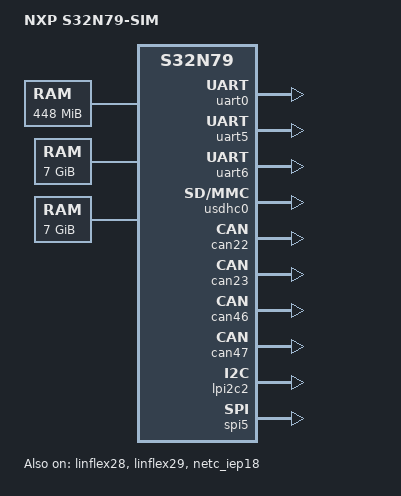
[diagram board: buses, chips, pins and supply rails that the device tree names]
// SPDX-License-Identifier: (GPL-2.0+ OR BSD-3-Clause)
/*
 * Copyright 2024-2025 NXP
 */

/dts-v1/;
#include "s32n79-simulator.dtsi"

/delete-node/ &cpu4;
/delete-node/ &cpu5;
/delete-node/ &cpu6;
/delete-node/ &cpu7;
/delete-node/ &irqsteer_coss;
/delete-node/ &irqsteer_rcu;
/delete-node/ &edma_coss;
/delete-node/ &edma_rcu;
/delete-node/ &netc_iep14;
/delete-node/ &netc_iep19;

/ {
	model = "NXP S32N79-SIM";
	compatible = "nxp,s32n79-sim", "nxp,s32n79";

	chosen {
		stdout-path = "serial0:115200n8";
	};

	cpus {
		cpu-map {
			cluster0 {
				core0 {
					cpu = <&cpu0>;
				};

				core1 {
					cpu = <&cpu1>;
				};
			};

			cluster1 {
				core0 {
					cpu = <&cpu2>;
				};

				core1 {
					cpu = <&cpu3>;
				};
			};
		};
	};

	memory@800000000 {
		device_type = "memory";
		reg = <0x0 0x80000000 0x0 0x1c000000>;
	};

	memory@8800000000 {
		device_type = "memory";
		reg = <0x88 0x00000000 0x1 0xc0000000>;
	};

	memory@c000000000 {
		device_type = "memory";
		reg = <0xc0 0x00000000 0x1 0xc0000000>;
	};

	reserved-memory {
		scmi_tx_buf: shm@93000000 {
			compatible = "arm,scmi-shmem";
			reg = <0x0 0x93000000 0x0 0x80>;
			no-map;
		};

		hse_rmem0: shm@90000000 {
			compatible = "nxp,s32n-hse-rmem";
			reg = <0x0 0x90000000 0x0 0x1000000>; /* 16 MB */
			no-map;
		};

		hse_rmem1: shm@91000000 {
			compatible = "nxp,s32n-hse-rmem";
			reg = <0x0 0x91000000 0x0 0x1000000>; /* 16 MB */
			no-map;
		};
	};

	coss_subsys {
		edma_coss: dma-controller@4e820000 {
			compatible = "nxp,s32n79-coss-edma5";
			reg = <0x4e820000 0x201000>,
			      <0x4e810000 0x1000>,
			      <0x4e814000 0x1000>,
			      <0x4e818000 0x1000>,
			      <0x4e81c000 0x1000>;
			#dma-cells = <2>;
			dma-channels = <32>;
			interrupt-parent = <&irqsteer_coss>;
			/* Two DMA channels share the same interrupt. */
			interrupts = <144>, <144>, <145>, <145>,
				     <146>, <146>, <147>, <147>,
				     <148>, <148>, <149>, <149>,
				     <150>, <150>, <151>, <151>,
				     <252>, <252>, <253>, <253>,
				     <254>, <254>, <255>, <255>,
				     <256>, <256>, <257>, <257>,
				     <258>, <258>, <259>, <259>,
				     <453>;
			clocks = <&sys_clk>, <&sys_clk>, <&sys_clk>, <&sys_clk>;
			clock-names = "dmamux0", "dmamux1", "dmamux2", "dmamux3";
		};

		irqsteer_coss: interrupt-controller@4ed50000 {
			compatible = "nxp,s32n7-irqsteer";
			reg = <0x4ed50000 0x10000>;
			interrupts = <GIC_SPI 567 IRQ_TYPE_LEVEL_HIGH>,
				     <GIC_SPI 568 IRQ_TYPE_LEVEL_HIGH>,
				     <GIC_SPI 569 IRQ_TYPE_LEVEL_HIGH>,
				     <GIC_SPI 570 IRQ_TYPE_LEVEL_HIGH>,
				     <GIC_SPI 571 IRQ_TYPE_LEVEL_HIGH>,
				     <GIC_SPI 572 IRQ_TYPE_LEVEL_HIGH>,
				     <GIC_SPI 573 IRQ_TYPE_LEVEL_HIGH>,
				     <GIC_SPI 574 IRQ_TYPE_LEVEL_HIGH>;
			interrupt-controller;
			interrupt-parent = <&gic>;
			#interrupt-cells = <1>;
			clocks = <&sys_clk>;
			clock-names = "ipg";
			fsl,channel = <0>;
			fsl,num-irqs = <512>;
		};
	};

	rcu_subsys {
		irqsteer_rcu: interrupt-controller@55151000 {
			compatible = "nxp,s32n7-irqsteer";
			reg = <0x55151000 0x1000>;
			interrupts = <GIC_SPI 123 IRQ_TYPE_LEVEL_HIGH>,
				     <GIC_SPI 124 IRQ_TYPE_LEVEL_HIGH>,
				     <GIC_SPI 125 IRQ_TYPE_LEVEL_HIGH>,
				     <GIC_SPI 126 IRQ_TYPE_LEVEL_HIGH>,
				     <GIC_SPI 127 IRQ_TYPE_LEVEL_HIGH>,
				     <GIC_SPI 128 IRQ_TYPE_LEVEL_HIGH>,
				     <GIC_SPI 129 IRQ_TYPE_LEVEL_HIGH>,
				     <GIC_SPI 130 IRQ_TYPE_LEVEL_HIGH>;
			interrupt-controller;
			interrupt-parent = <&gic>;
			#interrupt-cells = <1>;
			clocks = <&sys_clk>;
			clock-names = "ipg";
			fsl,channel = <0>;
			fsl,num-irqs = <512>;
		};

		edma_rcu: dma-controller@569d0000 {
			compatible = "nxp,s32n79-rcu-edma5";
			reg = <0x569d0000 0x101000>,
				<0x568b2000 0x1000>,
				<0x568b3000 0x1000>;
			#dma-cells = <2>;
			dma-channels = <16>;
			interrupt-parent = <&irqsteer_rcu>;
			interrupts = <336>, <337>, <338>, <339>,
				     <340>, <341>, <342>, <343>,
				     <344>, <345>, <346>, <347>,
				     <348>, <349>, <350>, <351>,
				     <393>;
			clocks = <&sys_clk>, <&sys_clk>;
			clock-names = "dmamux0", "dmamux1";
		};
	};
};

&smmu {
	status = "okay";
};

&uart0 {
	status = "okay";
};

&uart5 {
	status = "okay";
};

&uart6 {
	status = "okay";
};

&linflex28 {
	status = "okay";
};

&linflex29 {
	status = "okay";
};

&usdhc0 {
	status = "okay";
};

&can22 {
	status = "okay";
};

&can23 {
	status = "okay";
};

&can46 {
	status = "okay";
};

&can47 {
	status = "okay";
};

&lpi2c2 {
	status = "okay";
};

&spi5 {
	status = "okay";
};

&netc_iep18 {
	status = "okay";
};

